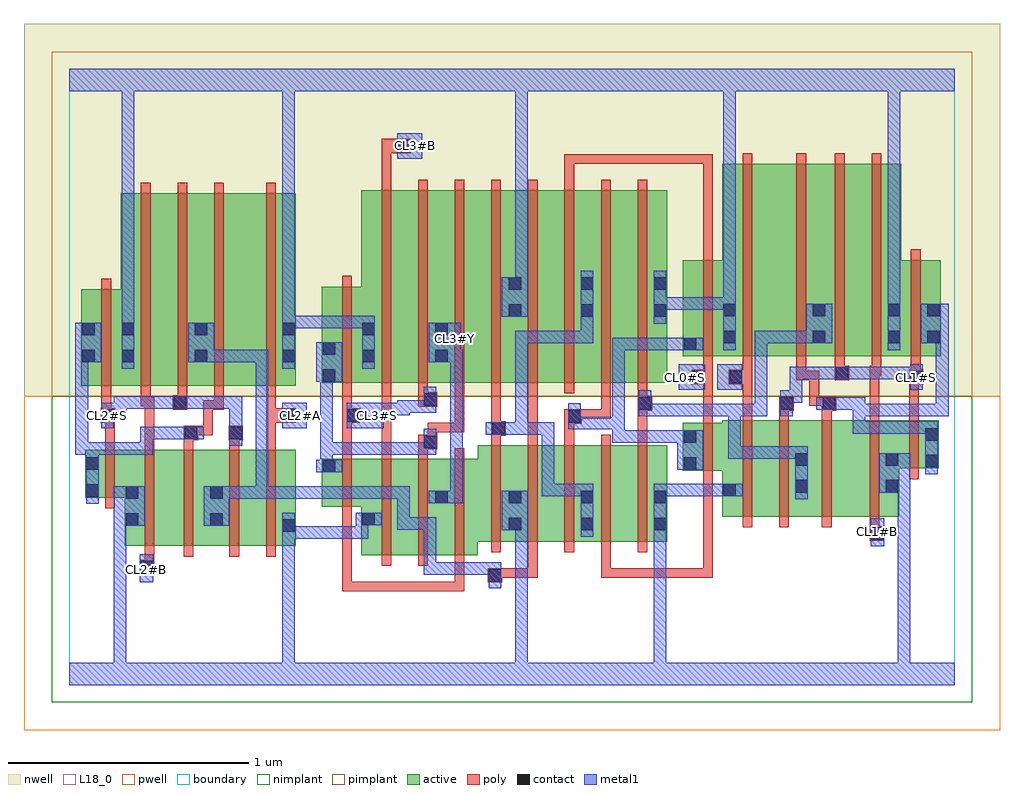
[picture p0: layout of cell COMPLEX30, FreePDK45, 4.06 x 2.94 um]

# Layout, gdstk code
import gdstk
lib = gdstk.Library(unit=1e-6, precision=1e-09)
def R(c, l, rs):  # rectangles x0, y0, x1, y1
    for r in rs: c.add(gdstk.rectangle(r[:2], r[2:], *l))
def A(c, l, x, y, w, h, nx, ny, dx, dy):  # array of equal rectangles
    R(c, l, [(x+i*dx, y+j*dy, x+i*dx+w, y+j*dy+h) for i in range(nx) for j in range(ny)])
active = (1, 0)
pwell = (2, 0)
nwell = (3, 0)
nimplant = (4, 0)
pimplant = (5, 0)
poly = (9, 0)
contact = (10, 0)
metal1 = (11, 0)
L18_0 = (18, 0)
boundary = (235, 0)

complex30 = lib.new_cell('COMPLEX30')
A(complex30, active, 1.214, 1.256, 0.18, 0.8, 3, 1, 0.304, 0)
R(complex30, active, [(1.214,0.54,1.394,0.94), (1.394,0.54,1.578,0.94), (1.518,0.54,1.698,0.94), (1.518,0.54,1.578,0.812), (0.23,0.578,0.41,0.978), (0.41,0.578,0.642,0.978), (0.582,0.578,0.762,0.978), (0.582,0.578,0.642,0.83), (0.762,0.578,0.942,0.978), (0.882,0.578,0.942,0.692), (1.698,0.596,1.882,0.996), (1.822,0.596,2.002,0.996), (1.822,0.596,1.882,0.812), (2.002,0.596,2.182,0.996), (2.122,0.596,2.306,0.996), (2.122,0.596,2.182,0.812), (2.306,0.596,2.486,0.996), (2.426,0.596,2.486,0.996), (0.23,0.658,0.29,0.85), (1.214,0.66,1.274,0.74), (2.714,0.7,2.894,1.1), (2.894,0.7,3.074,1.1), (3.014,0.7,3.224,1.1), (3.014,0.7,3.074,1.1), (3.224,0.7,3.45,1.1), (1.05,0.74,1.11,0.94), (1.05,0.74,1.274,0.94), (0.066,0.778,0.126,0.978), (0.066,0.778,0.29,0.978), (2.714,0.78,2.774,1.09), (3.39,0.796,3.45,1.1), (2.55,0.89,2.61,1.09), (2.55,0.89,2.774,1.09), (3.39,0.9,3.614,1.1), (3.554,0.9,3.614,1.1), (0.05,1.244,0.11,1.644), (0.05,1.244,0.274,1.644), (0.214,1.244,0.274,1.644), (0.214,1.244,0.394,2.044), (0.394,1.244,0.578,2.044), (0.518,1.244,0.698,2.044), (0.518,1.244,0.578,2.044), (0.698,1.244,0.942,2.044), (0.882,1.244,0.942,2.044), (1.05,1.256,1.274,1.656), (1.05,1.256,1.11,1.644), (1.394,1.256,1.578,2.056), (1.518,1.256,1.578,2.044), (1.698,1.256,1.882,2.056), (1.822,1.256,1.882,2.044), (2.002,1.256,2.182,2.056), (2.122,1.256,2.182,2.044), (2.122,1.256,2.306,2.056), (2.306,1.256,2.486,2.056), (2.426,1.256,2.486,2.044), (1.214,1.338,1.274,1.644), (2.55,1.366,2.61,1.644), (2.55,1.366,2.774,1.766), (2.714,1.366,2.774,1.644), (2.714,1.366,2.966,2.166), (2.966,1.366,3.146,2.166), (3.086,1.366,3.278,2.166), (3.086,1.366,3.146,2.044), (3.278,1.366,3.458,2.166), (3.398,1.366,3.622,1.766), (3.562,1.366,3.622,1.644), (3.398,1.416,3.458,1.644)])
R(complex30, pwell, [(-0.188,-0.188,3.868,1.2)])
R(complex30, nwell, [(-0.188,1.2,3.868,2.748)])
R(complex30, nimplant, [(-0.072,-0.072,3.752,1.2)])
R(complex30, pimplant, [(-0.072,1.2,3.752,2.632)])
A(complex30, poly, 1.134, 0.39, 0.04, 0.04, 3, 1, 0.106, 0)
A(complex30, poly, 1.298, 0.496, 0.04, 0.488, 3, 1, 0.152, 0)
A(complex30, poly, 1.754, 0.552, 0.04, 0.488, 5, 1, 0.152, 0)
A(complex30, poly, 0.298, 1.2, 0.04, 0.888, 3, 1, 0.152, 0)
A(complex30, poly, 1.298, 1.212, 0.04, 0.888, 8, 1, 0.152, 0)
R(complex30, poly, [(1.134,0.39,1.174,0.43), (1.134,0.39,1.174,0.43), (1.134,0.39,1.174,0.43), (1.134,0.39,1.174,0.43), (1.134,0.39,1.174,0.43), (1.134,0.39,1.174,0.43), (1.134,0.39,1.28,0.43), (1.134,0.39,1.174,0.736), (1.24,0.39,1.386,0.43), (1.346,0.39,1.386,0.43), (1.346,0.39,1.386,0.43), (1.346,0.39,1.642,0.43), (1.602,0.39,1.642,0.43), (1.602,0.39,1.642,0.43), (1.602,0.39,1.642,0.43), (1.602,0.39,1.642,0.536), (1.74,0.426,1.8,0.486), (1.76,0.446,1.946,0.486), (1.906,0.446,1.946,0.486), (1.906,0.446,1.946,0.486), (1.906,0.446,1.946,0.486), (1.906,0.446,1.946,0.592), (2.21,0.446,2.25,0.486), (2.21,0.446,2.25,0.486), (2.21,0.446,2.25,0.486), (2.21,0.446,2.25,0.592), (2.21,0.446,2.51,0.486), (2.47,0.446,2.51,0.486), (2.47,0.446,2.51,0.486), (2.47,0.446,2.51,0.486), (2.47,0.446,2.674,0.486), (2.634,0.446,2.674,0.486), (2.634,0.446,2.674,0.486), (2.634,0.446,2.674,0.486), (2.634,0.446,2.674,0.486), (2.634,0.446,2.674,0.486), (2.634,0.446,2.674,0.486), (2.634,0.446,2.674,0.486), (2.634,0.446,2.674,0.886), (0.294,0.46,0.354,0.52), (0.314,0.48,0.354,0.574), (0.314,0.534,0.354,1.022), (0.476,0.534,0.516,1.022), (0.666,0.534,0.706,1.022), (0.818,0.534,0.858,1.022), (3.326,0.6,3.386,0.66), (3.326,0.62,3.366,0.696), (2.798,0.656,2.838,1.144), (2.95,0.656,2.99,1.144), (3.128,0.656,3.168,1.144), (3.326,0.656,3.366,1.144), (1.134,0.696,1.174,0.984), (0.15,0.734,0.19,1.022), (2.634,0.846,2.674,1.134), (3.49,0.856,3.53,1.144), (1.134,0.944,1.174,1.13), (1.298,0.944,1.338,1.216), (1.45,0.944,1.49,1.02), (1.45,0.98,1.53,1.04), (0.15,0.982,0.19,1.13), (0.314,0.982,0.354,1.198), (0.476,0.982,0.516,1.058), (0.666,0.982,0.706,1.058), (0.818,0.982,0.858,1.13), (1.49,1,1.53,1.04), (1.49,1,1.53,1.09), (1.754,1,1.794,1.076), (1.906,1,1.946,1.216), (2.058,1,2.098,1.126), (2.362,1,2.402,1.18), (0.476,1.018,0.536,1.078), (0.662,1.018,0.722,1.078), (1.754,1.036,1.794,1.076), (1.754,1.036,1.794,1.076), (1.754,1.036,1.814,1.096), (0.496,1.038,0.596,1.078), (0.556,1.038,0.596,1.078), (0.556,1.038,0.596,1.184), (1.49,1.05,1.642,1.09), (1.602,1.05,1.642,1.09), (1.602,1.05,1.642,1.09), (1.602,1.05,1.642,1.09), (1.602,1.05,1.642,1.252), (1.754,1.056,1.794,1.252), (2.058,1.086,2.13,1.146), (0.13,1.09,0.19,1.15), (0.15,1.09,0.19,1.13), (0.15,1.09,0.19,1.13), (0.818,1.09,0.858,1.13), (0.818,1.09,0.858,1.13), (0.818,1.09,0.942,1.15), (1.134,1.09,1.174,1.13), (1.134,1.09,1.174,1.13), (1.134,1.09,1.21,1.15), (2.634,1.094,2.674,1.29), (2.798,1.104,2.838,1.29), (2.95,1.104,2.99,1.18), (3.128,1.104,3.168,1.18), (3.326,1.104,3.366,1.326), (3.49,1.104,3.53,1.29), (2.09,1.106,2.13,1.146), (2.09,1.106,2.13,1.146), (2.09,1.106,2.13,1.146), (2.09,1.106,2.13,1.146), (2.09,1.106,2.25,1.146), (2.21,1.106,2.25,1.146), (2.21,1.106,2.25,1.252), (0.134,1.11,0.174,1.24), (0.818,1.11,0.858,1.24), (1.134,1.11,1.174,1.252), (2.362,1.14,2.422,1.2), (2.95,1.14,3.01,1.2), (3.128,1.14,3.188,1.2), (0.43,1.144,0.49,1.204), (0.556,1.144,0.596,1.184), (0.556,1.144,0.642,1.184), (0.602,1.144,0.642,1.184), (0.602,1.144,0.642,1.24), (1.45,1.156,1.53,1.216), (0.298,1.158,0.338,1.24), (0.298,1.158,0.354,1.198), (0.314,1.158,0.354,1.198), (0.314,1.158,0.354,1.198), (2.362,1.16,2.402,1.252), (2.362,1.16,2.402,1.2), (2.362,1.16,2.402,1.2), (3.076,1.16,3.116,1.2), (3.076,1.16,3.168,1.2), (3.076,1.16,3.116,1.306), (0.45,1.164,0.49,1.24), (1.298,1.176,1.338,1.216), (1.298,1.176,1.338,1.216), (1.298,1.176,1.338,1.216), (1.298,1.176,1.338,1.252), (1.45,1.176,1.49,1.252), (1.906,1.176,1.946,1.216), (1.906,1.176,1.946,1.216), (1.906,1.176,1.946,1.216), (1.906,1.176,1.946,1.252), (0.134,1.2,0.174,1.688), (0.818,1.2,0.858,2.088), (1.134,1.212,1.174,1.7), (2.586,1.25,2.674,1.31), (2.634,1.25,2.674,1.29), (2.634,1.25,2.674,1.29), (2.74,1.25,2.838,1.31), (2.798,1.25,2.838,1.29), (2.798,1.25,2.838,1.29), (3.49,1.25,3.53,1.29), (3.49,1.25,3.53,1.29), (3.49,1.25,3.55,1.31), (3.022,1.266,3.062,1.306), (3.022,1.266,3.116,1.306), (3.022,1.266,3.062,1.362), (3.076,1.266,3.116,1.306), (3.182,1.266,3.242,1.326), (2.634,1.27,2.674,1.362), (2.798,1.27,2.838,1.362), (3.498,1.27,3.538,1.362), (3.182,1.286,3.222,1.362), (3.326,1.286,3.366,1.326), (3.326,1.286,3.366,1.326), (3.326,1.286,3.374,1.326), (3.334,1.286,3.374,1.362), (2.634,1.322,2.674,1.81), (2.798,1.322,2.838,2.21), (3.022,1.322,3.062,2.21), (3.182,1.322,3.222,2.21), (3.334,1.322,3.374,2.21), (3.498,1.322,3.538,1.81), (2.634,1.77,2.674,2.206), (1.298,2.06,1.338,2.25), (2.058,2.06,2.098,2.206), (2.058,2.166,2.098,2.206), (2.058,2.166,2.098,2.206), (2.058,2.166,2.098,2.206), (2.058,2.166,2.236,2.206), (2.196,2.166,2.236,2.206), (2.196,2.166,2.236,2.206), (2.196,2.166,2.236,2.206), (2.196,2.166,2.508,2.206), (2.468,2.166,2.508,2.206), (2.468,2.166,2.508,2.206), (2.468,2.166,2.508,2.206), (2.468,2.166,2.508,2.206), (2.468,2.166,2.508,2.206), (2.468,2.166,2.674,2.206), (2.634,2.166,2.674,2.206), (2.634,2.166,2.674,2.206), (2.634,2.166,2.674,2.206), (2.634,2.166,2.674,2.206), (2.634,2.166,2.674,2.206), (2.634,2.166,2.674,2.206), (2.634,2.166,2.674,2.206), (2.634,2.166,2.674,2.206), (2.634,2.166,2.674,2.206), (1.298,2.21,1.42,2.27)])
R(complex30, contact, [(1.744,0.43,1.796,0.482), (0.298,0.464,0.35,0.516), (3.33,0.604,3.382,0.656), (0.886,0.636,0.938,0.688), (1.826,0.644,1.878,0.696), (2.126,0.644,2.178,0.696), (2.43,0.644,2.482,0.696), (0.234,0.662,0.286,0.714), (0.586,0.662,0.638,0.714), (1.218,0.664,1.27,0.716), (1.522,0.756,1.574,0.808), (1.826,0.756,1.878,0.808), (2.126,0.756,2.178,0.808), (2.43,0.756,2.482,0.808), (0.234,0.774,0.286,0.826), (0.586,0.774,0.638,0.826), (0.07,0.782,0.122,0.834), (2.718,0.784,2.77,0.836), (3.018,0.8,3.07,0.852), (3.394,0.8,3.446,0.852), (1.054,0.884,1.106,0.936), (0.07,0.894,0.122,0.946), (2.554,0.894,2.606,0.946), (3.558,0.904,3.61,0.956), (3.018,0.912,3.07,0.964), (3.394,0.912,3.446,0.964), (1.474,0.984,1.526,1.036), (2.554,1.006,2.606,1.058), (3.558,1.016,3.61,1.068), (0.48,1.022,0.532,1.074), (0.666,1.022,0.718,1.074), (1.758,1.04,1.81,1.092), (2.074,1.09,2.126,1.142), (0.134,1.094,0.186,1.146), (0.886,1.094,0.938,1.146), (1.154,1.094,1.206,1.146), (2.366,1.144,2.418,1.196), (2.954,1.144,3.006,1.196), (3.132,1.144,3.184,1.196), (0.434,1.148,0.486,1.2), (1.474,1.16,1.526,1.212), (2.59,1.254,2.642,1.306), (2.744,1.254,2.796,1.306), (3.494,1.254,3.546,1.306), (1.054,1.26,1.106,1.312), (3.186,1.27,3.238,1.322), (0.054,1.342,0.106,1.394), (0.218,1.342,0.27,1.394), (0.522,1.342,0.574,1.394), (0.886,1.342,0.938,1.394), (1.218,1.342,1.27,1.394), (1.522,1.342,1.574,1.394), (1.054,1.372,1.106,1.424), (2.554,1.392,2.606,1.444), (2.718,1.42,2.77,1.472), (3.09,1.42,3.142,1.472), (3.402,1.42,3.454,1.472), (3.566,1.42,3.618,1.472), (0.054,1.454,0.106,1.506), (0.218,1.454,0.27,1.506), (0.522,1.454,0.574,1.506), (0.886,1.454,0.938,1.506), (1.218,1.454,1.27,1.506), (1.522,1.454,1.574,1.506), (1.826,1.53,1.878,1.582), (2.126,1.53,2.178,1.582), (2.43,1.53,2.482,1.582), (2.718,1.532,2.77,1.584), (3.09,1.532,3.142,1.584), (3.402,1.532,3.454,1.584), (3.566,1.532,3.618,1.584), (1.826,1.642,1.878,1.694), (2.126,1.642,2.178,1.694), (2.43,1.642,2.482,1.694), (1.364,2.214,1.416,2.266)])
R(complex30, metal1, [(0,0,3.68,0.092), (0.184,0.04,0.236,0.714), (0.886,0.04,0.938,0.092), (0.886,0.04,0.938,0.092), (0.886,0.04,0.938,0.092), (0.886,0.04,0.938,0.092), (0.886,0.04,0.938,0.092), (0.886,0.04,0.938,0.092), (0.886,0.04,0.938,0.092), (0.886,0.04,0.938,0.092), (0.886,0.04,0.938,0.66), (1.854,0.04,1.906,0.696), (2.43,0.04,2.482,0.092), (2.43,0.04,2.482,0.092), (2.43,0.04,2.482,0.092), (2.43,0.04,2.482,0.092), (2.43,0.04,2.482,0.092), (2.43,0.04,2.482,0.092), (2.43,0.04,2.482,0.668), (3.444,0.04,3.496,0.852), (1.744,0.402,1.796,0.51), (0.294,0.426,0.35,0.544), (1.474,0.458,1.526,0.51), (1.474,0.458,1.526,0.51), (1.474,0.458,1.526,0.51), (1.474,0.458,1.636,0.51), (1.474,0.458,1.526,0.698), (1.584,0.458,1.636,0.51), (1.584,0.458,1.636,0.51), (1.584,0.458,1.636,0.51), (1.584,0.458,1.796,0.51), (3.33,0.576,3.386,0.694), (0.886,0.608,0.938,0.66), (0.886,0.608,0.938,0.66), (0.886,0.608,0.938,0.66), (0.886,0.608,0.938,0.66), (0.886,0.608,0.938,0.716), (0.886,0.608,1.072,0.66), (1.02,0.608,1.072,0.66), (1.02,0.608,1.242,0.66), (1.19,0.608,1.242,0.66), (1.19,0.608,1.242,0.66), (1.19,0.608,1.242,0.66), (1.19,0.608,1.242,0.716), (2.126,0.616,2.178,0.836), (2.43,0.616,2.482,0.668), (2.43,0.616,2.482,0.668), (2.43,0.616,2.482,0.668), (2.43,0.616,2.482,0.668), (2.43,0.616,2.482,0.668), (2.43,0.616,2.482,0.668), (2.43,0.616,2.482,0.836), (1.798,0.644,1.906,0.808), (1.854,0.644,1.906,0.696), (1.854,0.644,1.906,0.696), (1.854,0.644,1.906,0.696), (1.854,0.644,1.906,0.696), (1.854,0.644,1.906,0.696), (1.854,0.644,1.906,0.696), (1.854,0.644,1.906,0.696), (1.854,0.644,1.906,0.696), (1.854,0.644,1.906,0.696), (1.854,0.644,1.906,0.696), (1.854,0.644,1.906,0.696), (1.854,0.644,1.906,0.696), (1.364,0.646,1.416,0.698), (1.364,0.646,1.416,0.698), (1.364,0.646,1.526,0.698), (1.364,0.646,1.416,0.826), (1.474,0.646,1.526,0.698), (1.474,0.646,1.526,0.698), (1.474,0.646,1.526,0.698), (0.184,0.662,0.236,0.714), (0.184,0.662,0.236,0.714), (0.184,0.662,0.236,0.714), (0.184,0.662,0.236,0.714), (0.184,0.662,0.236,0.714), (0.184,0.662,0.236,0.714), (0.184,0.662,0.236,0.714), (0.184,0.662,0.236,0.714), (0.184,0.662,0.236,0.714), (0.184,0.662,0.236,0.714), (0.184,0.662,0.236,0.714), (0.184,0.662,0.236,0.714), (0.184,0.662,0.314,0.826), (0.558,0.662,0.666,0.826), (1.19,0.664,1.298,0.716), (0.07,0.754,0.122,0.974), (1.494,0.756,1.636,0.808), (1.584,0.756,1.636,0.808), (1.584,0.756,1.636,0.808), (1.584,0.756,1.636,0.808), (1.584,0.756,1.636,0.808), (1.584,0.756,1.636,0.808), (1.584,0.756,1.636,0.808), (1.584,0.756,1.636,0.808), (1.584,0.756,1.636,0.808), (1.584,0.756,1.636,0.808), (1.584,0.756,1.636,0.808), (1.584,0.756,1.636,1.394), (3.018,0.772,3.07,0.992), (0.614,0.774,0.67,0.826), (0.618,0.774,0.67,0.826), (0.618,0.774,0.828,0.826), (0.776,0.774,0.828,0.826), (0.776,0.774,0.828,0.826), (0.776,0.774,0.828,0.826), (0.776,0.774,0.828,0.826), (0.776,0.774,0.828,0.826), (0.776,0.774,0.828,0.826), (0.776,0.774,0.828,0.826), (0.776,0.774,0.962,0.826), (0.776,0.774,0.828,1.394), (0.91,0.774,0.962,0.826), (0.91,0.774,0.962,0.826), (0.91,0.774,0.962,0.826), (0.91,0.774,0.962,0.826), (0.91,0.774,0.962,0.826), (0.91,0.774,1.218,0.826), (1.166,0.774,1.218,0.826), (1.166,0.774,1.218,0.826), (1.166,0.774,1.218,0.826), (1.166,0.774,1.218,0.826), (1.166,0.774,1.218,0.826), (1.166,0.774,1.416,0.826), (1.964,0.784,2.016,0.836), (1.964,0.784,2.178,0.836), (1.964,0.784,2.016,1.092), (2.126,0.784,2.178,0.836), (2.126,0.784,2.178,0.836), (2.43,0.784,2.592,0.836), (2.54,0.784,2.592,0.836), (2.54,0.784,2.592,0.836), (2.54,0.784,2.592,0.836), (2.54,0.784,2.742,0.836), (2.69,0.784,2.798,0.836), (3.366,0.8,3.496,0.964), (3.444,0.8,3.496,0.852), (3.444,0.8,3.496,0.852), (3.444,0.8,3.496,0.852), (3.444,0.8,3.496,0.852), (3.444,0.8,3.496,0.852), (3.444,0.8,3.496,0.852), (3.444,0.8,3.496,0.852), (3.444,0.8,3.496,0.852), (3.444,0.8,3.496,0.852), (3.444,0.8,3.496,0.852), (3.444,0.8,3.496,0.852), (3.444,0.8,3.496,0.852), (3.558,0.876,3.61,1.096), (1.026,0.884,1.134,0.936), (1.044,0.884,1.096,1.008), (2.526,0.894,2.634,1.058), (0.07,0.922,0.122,1.008), (2.738,0.94,2.79,0.992), (2.738,0.94,2.79,0.992), (2.738,0.94,2.79,0.992), (2.738,0.94,2.906,0.992), (2.738,0.94,2.79,1.168), (2.854,0.94,2.906,0.992), (2.854,0.94,2.906,0.992), (2.854,0.94,2.906,0.992), (2.854,0.94,3.07,0.992), (0.026,0.956,0.078,1.394), (0.026,0.956,0.122,1.008), (0.07,0.956,0.232,1.008), (0.18,0.956,0.232,1.008), (0.18,0.956,0.232,1.008), (0.18,0.956,0.232,1.008), (0.18,0.956,0.348,1.008), (0.296,0.956,0.348,1.008), (0.296,0.956,0.348,1.008), (0.296,0.956,0.348,1.074), (1.044,0.956,1.096,1.312), (1.044,0.956,1.096,1.008), (1.044,0.956,1.096,1.008), (1.044,0.956,1.096,1.008), (1.044,0.956,1.096,1.008), (1.044,0.956,1.096,1.008), (1.044,0.956,1.306,1.008), (1.254,0.956,1.306,1.008), (1.254,0.956,1.416,1.008), (1.364,0.956,1.416,1.008), (1.364,0.956,1.416,1.008), (1.364,0.956,1.416,1.008), (1.364,0.956,1.526,1.008), (1.474,0.956,1.526,1.064), (0.666,0.994,0.718,1.102), (2.256,1.006,2.308,1.058), (2.256,1.006,2.308,1.114), (2.256,1.006,2.468,1.058), (2.416,1.006,2.468,1.058), (2.416,1.006,2.468,1.058), (2.416,1.006,2.468,1.058), (2.416,1.006,2.578,1.058), (0.296,1.022,0.504,1.074), (0.452,1.022,0.56,1.074), (1.73,1.04,1.838,1.092), (1.786,1.04,1.906,1.092), (1.854,1.04,1.906,1.092), (1.854,1.04,2.016,1.092), (1.854,1.04,1.906,1.472), (1.964,1.04,2.016,1.092), (1.964,1.04,2.016,1.092), (1.964,1.04,2.016,1.092), (1.964,1.04,2.016,1.092), (1.964,1.04,2.016,1.092), (3.256,1.044,3.308,1.096), (3.256,1.044,3.436,1.096), (3.256,1.044,3.308,1.168), (3.384,1.044,3.436,1.096), (3.384,1.044,3.436,1.096), (3.384,1.044,3.436,1.096), (3.384,1.044,3.61,1.096), (3.558,1.044,3.61,1.096), (3.558,1.044,3.61,1.096), (0.666,1.05,0.718,1.102), (0.666,1.05,0.718,1.102), (0.666,1.05,0.718,1.2), (2.074,1.062,2.126,1.114), (2.074,1.062,2.126,1.114), (2.074,1.062,2.126,1.17), (2.074,1.062,2.308,1.114), (2.256,1.062,2.308,1.114), (2.256,1.062,2.308,1.114), (2.256,1.062,2.308,1.114), (2.256,1.062,2.308,1.114), (2.256,1.062,2.308,1.114), (2.256,1.062,2.308,1.444), (0.134,1.066,0.186,1.174), (0.886,1.066,0.986,1.174), (1.154,1.066,1.306,1.174), (2.366,1.116,2.418,1.168), (2.366,1.116,2.418,1.168), (2.366,1.116,2.418,1.224), (2.366,1.116,2.592,1.168), (2.54,1.116,2.592,1.168), (2.54,1.116,2.592,1.168), (2.54,1.116,2.592,1.168), (2.54,1.116,2.79,1.168), (2.738,1.116,2.79,1.168), (2.738,1.116,2.79,1.168), (2.738,1.116,2.79,1.168), (2.738,1.116,2.9,1.168), (2.848,1.116,2.9,1.472), (2.848,1.116,2.9,1.168), (2.848,1.116,2.9,1.168), (2.848,1.116,2.9,1.168), (2.954,1.116,3.006,1.224), (3.256,1.116,3.418,1.168), (3.256,1.116,3.308,1.196), (3.366,1.116,3.418,1.168), (3.366,1.116,3.418,1.168), (3.366,1.116,3.418,1.168), (3.366,1.116,3.654,1.168), (3.602,1.116,3.654,1.472), (3.602,1.116,3.654,1.168), (3.602,1.116,3.654,1.168), (3.602,1.116,3.654,1.168), (3.602,1.116,3.654,1.168), (3.602,1.116,3.654,1.168), (0.134,1.122,0.238,1.174), (0.186,1.122,0.238,1.2), (1.254,1.122,1.306,1.174), (1.254,1.122,1.306,1.174), (1.254,1.122,1.416,1.174), (1.364,1.122,1.416,1.174), (1.364,1.122,1.416,1.174), (1.364,1.122,1.416,1.184), (1.364,1.132,1.526,1.184), (1.474,1.132,1.526,1.24), (3.104,1.144,3.212,1.196), (3.16,1.144,3.308,1.196), (0.186,1.148,0.348,1.2), (0.296,1.148,0.348,1.2), (0.296,1.148,0.348,1.2), (0.296,1.148,0.348,1.2), (0.296,1.148,0.458,1.2), (0.406,1.148,0.514,1.2), (0.462,1.148,0.718,1.2), (0.666,1.148,0.718,1.2), (2.954,1.172,3.046,1.224), (2.994,1.172,3.046,1.224), (2.994,1.172,3.046,1.322), (2.534,1.226,2.642,1.334), (2.694,1.226,2.796,1.334), (3.494,1.226,3.546,1.334), (1.026,1.26,1.134,1.424), (2.994,1.27,3.046,1.322), (2.994,1.27,3.21,1.322), (3.158,1.27,3.266,1.322), (3.214,1.27,3.266,1.322), (3.214,1.27,3.266,1.322), (3.214,1.27,3.436,1.322), (3.384,1.27,3.436,1.322), (3.384,1.27,3.436,1.322), (3.384,1.27,3.436,1.322), (3.384,1.27,3.546,1.322), (0.218,1.314,0.27,1.534), (0.886,1.314,0.938,1.534), (1.218,1.314,1.27,1.534), (0.026,1.342,0.078,1.394), (0.026,1.342,0.078,1.394), (0.026,1.342,0.134,1.506), (0.494,1.342,0.602,1.506), (0.55,1.342,0.718,1.394), (0.666,1.342,0.718,1.394), (0.666,1.342,0.828,1.394), (0.776,1.342,0.828,1.394), (1.494,1.342,1.626,1.506), (1.574,1.342,1.626,1.394), (1.574,1.342,1.636,1.394), (2.256,1.392,2.308,1.444), (2.256,1.392,2.468,1.444), (2.416,1.392,2.468,1.444), (2.416,1.392,2.468,1.444), (2.416,1.392,2.468,1.444), (2.416,1.392,2.578,1.444), (2.526,1.392,2.634,1.444), (2.718,1.392,2.77,1.612), (3.402,1.392,3.454,1.612), (1.854,1.42,1.906,1.472), (1.854,1.42,2.016,1.472), (1.964,1.42,2.016,1.472), (1.964,1.42,2.016,1.472), (1.964,1.42,2.016,1.472), (1.964,1.42,2.178,1.472), (2.126,1.42,2.178,1.554), (2.848,1.42,2.9,1.472), (2.848,1.42,2.906,1.472), (2.854,1.42,2.906,1.472), (2.854,1.42,3.114,1.472), (3.062,1.42,3.17,1.584), (3.538,1.42,3.654,1.584), (0.218,1.482,0.27,1.534), (0.218,1.482,0.27,1.534), (0.218,1.482,0.27,1.534), (0.218,1.482,0.27,1.534), (0.218,1.482,0.27,2.52), (0.886,1.482,0.938,1.534), (0.886,1.482,0.938,1.534), (0.886,1.482,0.938,1.534), (0.886,1.482,0.938,1.534), (0.886,1.482,0.938,1.534), (0.886,1.482,0.938,1.534), (0.886,1.482,1.27,1.534), (0.886,1.482,0.938,2.52), (1.218,1.482,1.27,1.534), (1.218,1.482,1.27,1.534), (2.126,1.502,2.178,1.554), (2.126,1.502,2.178,1.722), (2.43,1.502,2.482,1.722), (1.798,1.53,1.906,1.694), (2.43,1.56,2.632,1.612), (2.58,1.56,2.632,1.612), (2.58,1.56,2.632,1.612), (2.58,1.56,2.632,1.612), (2.58,1.56,2.77,1.612), (2.718,1.56,2.77,1.612), (2.718,1.56,2.77,1.612), (2.718,1.56,2.77,1.612), (2.718,1.56,2.77,1.612), (2.718,1.56,2.77,1.612), (2.718,1.56,2.77,1.612), (2.718,1.56,2.77,2.52), (3.402,1.56,3.454,1.612), (3.402,1.56,3.454,1.612), (3.402,1.56,3.454,2.52), (1.854,1.642,1.906,1.694), (1.854,1.642,1.906,1.694), (1.854,1.642,1.906,1.694), (1.854,1.642,1.906,1.694), (1.854,1.642,1.906,1.694), (1.854,1.642,1.906,1.694), (1.854,1.642,1.906,2.52), (1.364,2.186,1.466,2.294), (0,2.468,3.68,2.56), (0.218,2.468,0.27,2.52), (0.218,2.468,0.27,2.52), (0.218,2.468,0.27,2.52), (0.218,2.468,0.27,2.52), (0.886,2.468,0.938,2.52), (0.886,2.468,0.938,2.52), (0.886,2.468,0.938,2.52), (0.886,2.468,0.938,2.52), (1.854,2.468,1.906,2.52), (1.854,2.468,1.906,2.52), (2.718,2.468,2.77,2.52), (2.718,2.468,2.77,2.52), (3.402,2.468,3.454,2.52), (3.402,2.468,3.454,2.52), (3.402,2.468,3.454,2.52), (3.402,2.468,3.454,2.52), (3.402,2.468,3.454,2.52), (3.402,2.468,3.454,2.52)])
R(complex30, L18_0, [(0,0,3.68,0.092), (0.184,0.04,0.236,0.714), (0.886,0.04,0.938,0.092), (0.886,0.04,0.938,0.092), (0.886,0.04,0.938,0.092), (0.886,0.04,0.938,0.092), (0.886,0.04,0.938,0.092), (0.886,0.04,0.938,0.092), (0.886,0.04,0.938,0.092), (0.886,0.04,0.938,0.092), (0.886,0.04,0.938,0.66), (1.854,0.04,1.906,0.696), (2.43,0.04,2.482,0.092), (2.43,0.04,2.482,0.092), (2.43,0.04,2.482,0.092), (2.43,0.04,2.482,0.092), (2.43,0.04,2.482,0.092), (2.43,0.04,2.482,0.092), (2.43,0.04,2.482,0.668), (3.444,0.04,3.496,0.852), (0.294,0.426,0.35,0.544), (0.294,0.454,0.346,0.506), (3.33,0.576,3.386,0.694), (0.886,0.608,0.938,0.716), (0.886,0.608,0.938,0.66), (0.886,0.608,0.938,0.66), (0.886,0.608,0.938,0.66), (0.886,0.608,0.938,0.66), (0.886,0.608,1.072,0.66), (1.02,0.608,1.072,0.66), (1.02,0.608,1.242,0.66), (1.19,0.608,1.242,0.716), (1.19,0.608,1.242,0.66), (1.19,0.608,1.242,0.66), (1.19,0.608,1.242,0.66), (3.334,0.614,3.386,0.666), (2.43,0.616,2.482,0.668), (2.43,0.616,2.482,0.668), (2.43,0.616,2.482,0.668), (2.43,0.616,2.482,0.668), (2.43,0.616,2.482,0.668), (2.43,0.616,2.482,0.668), (2.43,0.616,2.482,0.836), (1.798,0.644,1.906,0.808), (1.854,0.644,1.906,0.696), (1.854,0.644,1.906,0.696), (1.854,0.644,1.906,0.696), (1.854,0.644,1.906,0.696), (1.854,0.644,1.906,0.696), (1.854,0.644,1.906,0.696), (1.854,0.644,1.906,0.696), (1.854,0.644,1.906,0.696), (1.854,0.644,1.906,0.696), (1.854,0.644,1.906,0.696), (1.854,0.644,1.906,0.696), (1.854,0.644,1.906,0.696), (0.184,0.662,0.236,0.714), (0.184,0.662,0.236,0.714), (0.184,0.662,0.236,0.714), (0.184,0.662,0.236,0.714), (0.184,0.662,0.236,0.714), (0.184,0.662,0.236,0.714), (0.184,0.662,0.236,0.714), (0.184,0.662,0.236,0.714), (0.184,0.662,0.236,0.714), (0.184,0.662,0.236,0.714), (0.184,0.662,0.236,0.714), (0.184,0.662,0.236,0.714), (0.184,0.662,0.314,0.826), (1.19,0.664,1.298,0.716), (1.494,0.756,1.636,0.808), (1.584,0.756,1.636,0.808), (1.584,0.756,1.636,0.808), (1.584,0.756,1.636,0.808), (1.584,0.756,1.636,0.808), (1.584,0.756,1.636,0.808), (1.584,0.756,1.636,0.808), (1.584,0.756,1.636,0.808), (1.584,0.756,1.636,0.808), (1.584,0.756,1.636,0.808), (1.584,0.756,1.636,0.808), (1.584,0.756,1.636,1.394), (2.43,0.784,2.592,0.836), (2.54,0.784,2.592,0.836), (2.54,0.784,2.592,0.836), (2.54,0.784,2.592,0.836), (2.54,0.784,2.742,0.836), (2.69,0.784,2.798,0.836), (3.366,0.8,3.496,0.964), (3.444,0.8,3.496,0.852), (3.444,0.8,3.496,0.852), (3.444,0.8,3.496,0.852), (3.444,0.8,3.496,0.852), (3.444,0.8,3.496,0.852), (3.444,0.8,3.496,0.852), (3.444,0.8,3.496,0.852), (3.444,0.8,3.496,0.852), (3.444,0.8,3.496,0.852), (3.444,0.8,3.496,0.852), (3.444,0.8,3.496,0.852), (3.444,0.8,3.496,0.852), (0.666,0.994,0.718,1.102), (0.666,1.05,0.718,1.102), (0.666,1.05,0.718,1.102), (0.666,1.05,0.718,1.2), (0.134,1.066,0.186,1.174), (0.886,1.066,0.986,1.174), (1.154,1.066,1.306,1.174), (0.134,1.094,0.186,1.146), (0.934,1.094,0.986,1.146), (1.254,1.094,1.306,1.146), (2.954,1.116,3.006,1.224), (0.134,1.122,0.238,1.174), (0.186,1.122,0.238,1.2), (1.254,1.122,1.306,1.174), (1.254,1.122,1.306,1.174), (1.254,1.122,1.416,1.174), (1.364,1.122,1.416,1.174), (1.364,1.122,1.416,1.174), (1.364,1.122,1.416,1.184), (1.364,1.132,1.526,1.184), (1.474,1.132,1.526,1.24), (0.186,1.148,0.348,1.2), (0.296,1.148,0.348,1.2), (0.296,1.148,0.348,1.2), (0.296,1.148,0.348,1.2), (0.296,1.148,0.458,1.2), (0.406,1.148,0.514,1.2), (0.462,1.148,0.718,1.2), (0.666,1.148,0.718,1.2), (2.954,1.172,3.046,1.224), (2.994,1.172,3.046,1.224), (2.994,1.172,3.046,1.322), (2.534,1.226,2.642,1.334), (2.694,1.226,2.796,1.334), (3.494,1.226,3.546,1.334), (2.534,1.254,2.586,1.306), (2.694,1.254,2.746,1.306), (3.494,1.254,3.546,1.306), (2.994,1.27,3.046,1.322), (2.994,1.27,3.21,1.322), (3.158,1.27,3.266,1.322), (3.214,1.27,3.266,1.322), (3.214,1.27,3.266,1.322), (3.214,1.27,3.436,1.322), (3.384,1.27,3.436,1.322), (3.384,1.27,3.436,1.322), (3.384,1.27,3.436,1.322), (3.384,1.27,3.546,1.322), (0.218,1.314,0.27,1.534), (0.886,1.314,0.938,1.534), (1.218,1.314,1.27,1.534), (1.494,1.342,1.626,1.506), (1.574,1.342,1.626,1.394), (1.574,1.342,1.636,1.394), (2.718,1.392,2.77,1.612), (3.402,1.392,3.454,1.612), (1.574,1.414,1.626,1.466), (0.218,1.482,0.27,1.534), (0.218,1.482,0.27,1.534), (0.218,1.482,0.27,1.534), (0.218,1.482,0.27,1.534), (0.218,1.482,0.27,2.52), (0.886,1.482,0.938,1.534), (0.886,1.482,0.938,1.534), (0.886,1.482,0.938,1.534), (0.886,1.482,0.938,1.534), (0.886,1.482,0.938,1.534), (0.886,1.482,0.938,1.534), (0.886,1.482,0.938,2.52), (0.886,1.482,1.27,1.534), (1.218,1.482,1.27,1.534), (1.218,1.482,1.27,1.534), (2.43,1.502,2.482,1.722), (1.798,1.53,1.906,1.694), (2.43,1.56,2.632,1.612), (2.58,1.56,2.632,1.612), (2.58,1.56,2.632,1.612), (2.58,1.56,2.632,1.612), (2.58,1.56,2.77,1.612), (2.718,1.56,2.77,1.612), (2.718,1.56,2.77,1.612), (2.718,1.56,2.77,1.612), (2.718,1.56,2.77,1.612), (2.718,1.56,2.77,1.612), (2.718,1.56,2.77,1.612), (2.718,1.56,2.77,2.52), (3.402,1.56,3.454,1.612), (3.402,1.56,3.454,1.612), (3.402,1.56,3.454,2.52), (1.854,1.642,1.906,1.694), (1.854,1.642,1.906,1.694), (1.854,1.642,1.906,1.694), (1.854,1.642,1.906,1.694), (1.854,1.642,1.906,1.694), (1.854,1.642,1.906,1.694), (1.854,1.642,1.906,2.52), (1.364,2.186,1.466,2.294), (1.414,2.214,1.466,2.266), (0,2.468,3.68,2.56), (0.218,2.468,0.27,2.52), (0.218,2.468,0.27,2.52), (0.218,2.468,0.27,2.52), (0.218,2.468,0.27,2.52), (0.886,2.468,0.938,2.52), (0.886,2.468,0.938,2.52), (0.886,2.468,0.938,2.52), (0.886,2.468,0.938,2.52), (1.854,2.468,1.906,2.52), (1.854,2.468,1.906,2.52), (2.718,2.468,2.77,2.52), (2.718,2.468,2.77,2.52), (3.402,2.468,3.454,2.52), (3.402,2.468,3.454,2.52), (3.402,2.468,3.454,2.52), (3.402,2.468,3.454,2.52), (3.402,2.468,3.454,2.52), (3.402,2.468,3.454,2.52)])
R(complex30, boundary, [(0,0,3.68,2.56)])
complex30.add(gdstk.Label('CL0#S', (2.56,1.28), layer=11, texttype=0))
complex30.add(gdstk.Label('CL1#A', (2.72,1.28), layer=11, texttype=0))
complex30.add(gdstk.Label('CL1#B', (3.36,0.64), layer=11, texttype=0))
complex30.add(gdstk.Label('CL1#S', (3.52,1.28), layer=11, texttype=0))
complex30.add(gdstk.Label('CL2#A', (0.96,1.12), layer=11, texttype=0))
complex30.add(gdstk.Label('CL2#B', (0.32,0.48), layer=11, texttype=0))
complex30.add(gdstk.Label('CL2#S', (0.16,1.12), layer=11, texttype=0))
complex30.add(gdstk.Label('CL3#B', (1.44,2.24), layer=11, texttype=0))
complex30.add(gdstk.Label('CL3#S', (1.28,1.12), layer=11, texttype=0))
complex30.add(gdstk.Label('CL3#Y', (1.6,1.44), layer=11, texttype=0))

lib.write_gds('COMPLEX30.gds')
